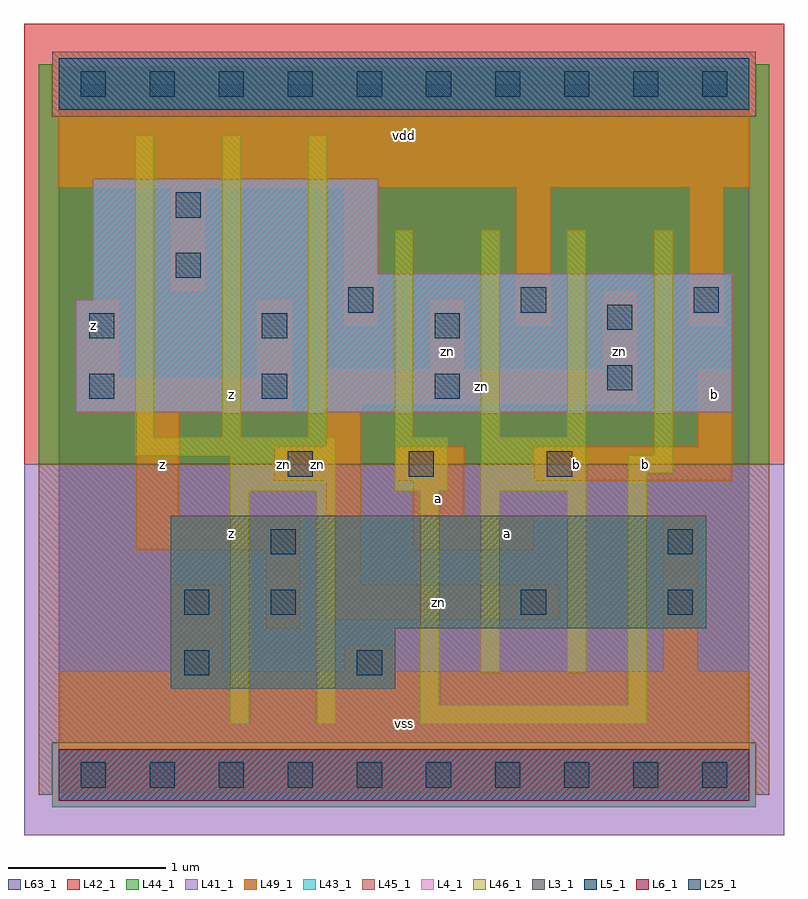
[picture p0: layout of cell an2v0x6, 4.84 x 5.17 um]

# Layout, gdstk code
import gdstk
lib = gdstk.Library(unit=1e-6, precision=1e-09)
def R(c, l, rs):  # rectangles x0, y0, x1, y1
    for r in rs: c.add(gdstk.rectangle(r[:2], r[2:], *l))
def A(c, l, x, y, w, h, nx, ny, dx, dy):  # array of equal rectangles
    R(c, l, [(x+i*dx, y+j*dy, x+i*dx+w, y+j*dy+h) for i in range(nx) for j in range(ny)])
L3_1 = (3, 1)
L4_1 = (4, 1)
L5_1 = (5, 1)
L6_1 = (6, 1)
L25_1 = (25, 1)
L41_1 = (41, 1)
L42_1 = (42, 1)
L43_1 = (43, 1)
L44_1 = (44, 1)
L45_1 = (45, 1)
L46_1 = (46, 1)
L49_1 = (49, 1)
L63_1 = (63, 1)

an2v0x6 = lib.new_cell('an2v0x6')
R(an2v0x6, L3_1, [(0.715,0.55,2.145,0.935), (0.715,0.935,4.125,1.65)])
R(an2v0x6, L4_1, [(0.11,2.31,4.29,3.025), (0.22,3.025,4.29,3.19), (0.22,3.19,2.035,3.795)])
R(an2v0x6, L5_1, [(0,4.235,4.4,4.565)])
R(an2v0x6, L6_1, [(0,-0.165,4.4,0.165)])
A(an2v0x6, L25_1, 0.14, -0.08, 0.16, 0.16, 10, 2, 0.44, 4.4)
A(an2v0x6, L25_1, 0.195, 2.395, 0.16, 0.16, 3, 2, 1.1, 0.385)
A(an2v0x6, L25_1, 1.845, 2.945, 0.16, 0.16, 3, 1, 1.1, 0)
R(an2v0x6, L25_1, [(0.8,0.635,0.96,0.795), (1.9,0.635,2.06,0.795), (0.8,1.02,0.96,1.18), (1.35,1.02,1.51,1.18), (2.945,1.02,3.105,1.18), (3.88,1.02,4.04,1.18), (1.35,1.405,1.51,1.565), (3.88,1.405,4.04,1.565), (1.46,1.9,1.62,2.06), (2.23,1.9,2.39,2.06), (3.11,1.9,3.27,2.06), (3.495,2.45,3.655,2.61), (3.495,2.835,3.655,2.995), (0.745,3.165,0.905,3.325), (0.745,3.55,0.905,3.71)])
R(an2v0x6, L41_1, [(-0.22,-0.385,4.62,1.98)])
R(an2v0x6, L42_1, [(-0.22,1.98,4.62,4.785)])
R(an2v0x6, L43_1, [(0,-0.165,4.4,0.165), (0.715,0.55,2.145,0.935), (0.715,0.935,4.125,1.65), (0.11,2.31,4.29,3.025), (0.22,3.025,4.29,3.19), (0.22,3.19,2.035,3.795), (0,4.235,4.4,4.565)])
R(an2v0x6, L44_1, [(-0.04,-0.205,4.44,0.205), (-0.125,1.98,4.525,4.195), (-0.125,4.195,-0.04,4.525), (4.44,4.195,4.525,4.525)])
R(an2v0x6, L45_1, [(-0.125,-0.125,-0.04,0.205), (4.44,-0.125,4.525,0.205), (-0.125,0.205,4.525,1.98), (-0.04,4.195,4.44,4.605)])
A(an2v0x6, L46_1, 0.49, 2.15, 0.12, 1.925, 3, 1, 0.55, 0)
A(an2v0x6, L46_1, 2.14, 2.15, 0.12, 1.32, 3, 1, 0.55, 0)
R(an2v0x6, L46_1, [(1.095,0.325,1.215,1.81), (1.645,0.325,1.765,1.81), (2.305,0.325,3.745,0.445), (2.305,0.445,2.425,1.81), (3.625,0.445,3.745,1.92), (2.69,0.655,2.81,1.81), (3.24,0.655,3.36,1.81), (1.095,1.81,1.765,2.03), (2.14,1.81,2.48,2.15), (2.69,1.81,3.36,2.15), (3.625,1.92,3.91,2.04), (0.49,2.03,1.765,2.15), (3.79,2.04,3.91,3.47)])
A(an2v0x6, L49_1, 1.815, 2.86, 0.22, 0.88, 3, 1, 1.1, 0)
R(an2v0x6, L49_1, [(0,-0.11,4.4,0.66), (0.715,0.66,1.045,1.21), (1.815,0.66,2.145,0.825), (3.85,0.66,4.07,1.65), (1.32,0.935,1.54,1.43), (1.705,0.99,3.19,1.21), (1.705,1.21,1.925,1.87), (0.495,1.43,1.54,1.65), (2.255,1.43,3.025,1.65), (0.495,1.65,0.77,2.31), (2.255,1.65,2.585,1.87), (1.375,1.87,1.925,2.09), (2.145,1.87,2.585,2.09), (3.025,1.87,4.29,2.09), (1.705,2.09,1.925,2.365), (4.07,2.09,4.29,2.585), (0.11,2.31,1.485,2.53), (1.705,2.365,3.685,2.585), (0.11,2.53,0.385,3.025), (1.265,2.53,1.485,3.025), (2.365,2.585,2.585,3.025), (3.465,2.585,3.685,3.08), (0.715,3.08,0.935,3.74), (0,3.74,4.4,4.51)])
R(an2v0x6, L63_1, [(0,0,4.4,4.4)])
an2v0x6.add(gdstk.Label('zn', (1.43,1.98), layer=46, texttype=1))
an2v0x6.add(gdstk.Label('z', (0.22,2.86), layer=49, texttype=1))
an2v0x6.add(gdstk.Label('z', (1.1,1.54), layer=49, texttype=1))
an2v0x6.add(gdstk.Label('z', (0.66,1.98), layer=49, texttype=1))
an2v0x6.add(gdstk.Label('z', (1.1,2.42), layer=49, texttype=1))
an2v0x6.add(gdstk.Label('vss', (2.2,0.33), layer=49, texttype=1))
an2v0x6.add(gdstk.Label('a', (2.42,1.76), layer=49, texttype=1))
an2v0x6.add(gdstk.Label('zn', (1.65,1.98), layer=49, texttype=1))
an2v0x6.add(gdstk.Label('zn', (2.475,2.695), layer=49, texttype=1))
an2v0x6.add(gdstk.Label('vdd', (2.2,4.07), layer=49, texttype=1))
an2v0x6.add(gdstk.Label('a', (2.86,1.54), layer=49, texttype=1))
an2v0x6.add(gdstk.Label('zn', (2.42,1.1), layer=49, texttype=1))
an2v0x6.add(gdstk.Label('b', (3.3,1.98), layer=49, texttype=1))
an2v0x6.add(gdstk.Label('b', (3.74,1.98), layer=49, texttype=1))
an2v0x6.add(gdstk.Label('zn', (2.695,2.475), layer=49, texttype=1))
an2v0x6.add(gdstk.Label('b', (4.18,2.42), layer=49, texttype=1))
an2v0x6.add(gdstk.Label('zn', (3.575,2.695), layer=49, texttype=1))

lib.write_gds('an2v0x6.gds')
